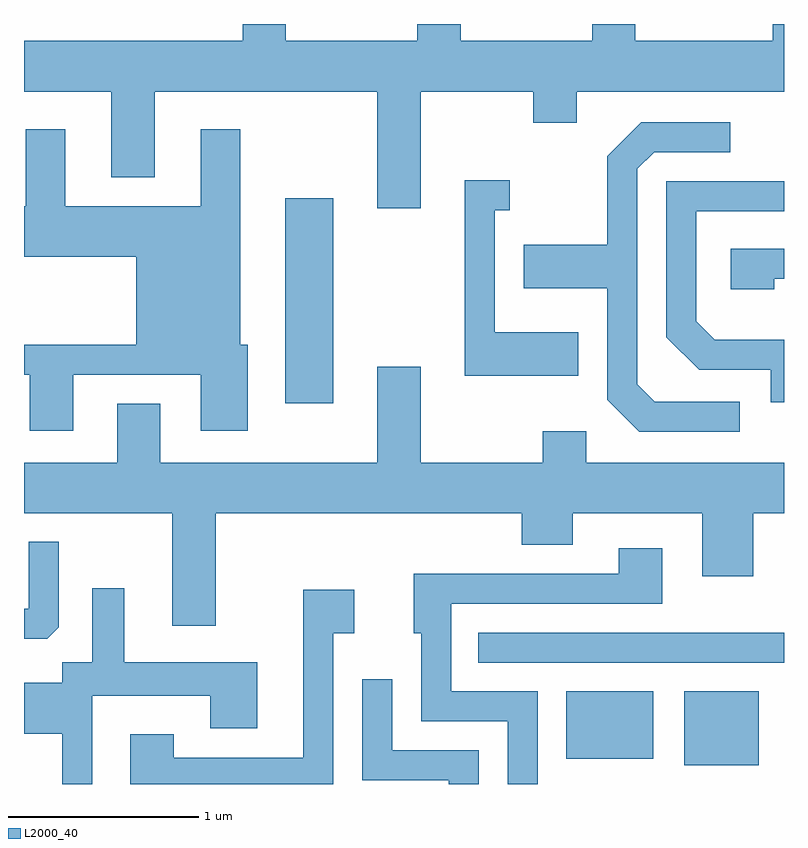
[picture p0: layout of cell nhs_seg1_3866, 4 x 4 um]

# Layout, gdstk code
import gdstk
lib = gdstk.Library(unit=1e-6, precision=1e-09)
def R(c, l, rs):  # rectangles x0, y0, x1, y1
    for r in rs: c.add(gdstk.rectangle(r[:2], r[2:], *l))
def P(c, l, *ps):  # polygons
    for p in ps: c.add(gdstk.Polygon(p, *l))
L2000_40 = (2000, 40)

nhs_seg1_3866 = lib.new_cell('nhs_seg1_3866')
R(nhs_seg1_3866, L2000_40, [(305.086,893.811,305.479,894.199), (304.466,893.846,304.924,894.199), (304.003,894.351,305.611,894.509), (302.986,895.716,303.239,896.794)])
P(nhs_seg1_3866, L2000_40, [(305.611,897.712),(305.551,897.712),(305.551,897.624),(304.829,897.624),(304.829,897.712),(304.601,897.712),(304.601,897.624),(303.909,897.624),(303.909,897.712),(303.681,897.712),(303.681,897.624),(302.989,897.624),(302.989,897.712),(302.761,897.712),(302.761,897.624),(301.611,897.624),(301.611,897.356),(302.071,897.356),(302.071,896.906),(302.299,896.906),(302.299,897.356),(303.471,897.356),(303.471,896.741),(303.699,896.741),(303.699,897.356),(304.291,897.356),(304.291,897.191),(304.519,897.191),(304.519,897.356),(305.611,897.356)],
  [(305.378,895.724),(304.932,895.724),(304.839,895.817),(304.839,896.949),(304.927,897.036),(305.328,897.036),(305.328,897.194),(304.859,897.194),(304.681,897.017),(304.681,896.549),(304.241,896.549),(304.241,896.321),(304.681,896.321),(304.681,895.734),(304.849,895.566),(305.378,895.566)],
  [(301.869,895.866),(302.541,895.866),(302.541,895.571),(302.789,895.571),(302.789,896.024),(302.749,896.024),(302.749,897.159),(302.541,897.159),(302.541,896.754),(301.829,896.754),(301.829,897.159),(301.621,897.159),(301.621,896.754),(301.611,896.754),(301.611,896.486),(302.201,896.486),(302.201,896.024),(301.611,896.024),(301.611,895.866),(301.641,895.866),(301.641,895.571),(301.869,895.571)],
  [(304.529,896.089),(304.089,896.089),(304.089,896.731),(304.168,896.731),(304.168,896.889),(303.931,896.889),(303.931,895.861),(304.529,895.861)],
  [(305.611,896.049),(305.247,896.049),(305.149,896.147),(305.149,896.726),(305.611,896.726),(305.611,896.884),(304.991,896.884),(304.991,896.064),(305.164,895.891),(305.541,895.891),(305.541,895.721),(305.611,895.721)],
  [(305.559,896.371),(305.611,896.371),(305.611,896.529),(305.331,896.529),(305.331,896.316),(305.559,896.316)],
  [(302.619,895.136),(304.231,895.136),(304.231,894.971),(304.499,894.971),(304.499,895.136),(305.181,895.136),(305.181,894.806),(305.449,894.806),(305.449,895.136),(305.611,895.136),(305.611,895.404),(304.569,895.404),(304.569,895.569),(304.341,895.569),(304.341,895.404),(303.699,895.404),(303.699,895.909),(303.471,895.909),(303.471,895.404),(302.329,895.404),(302.329,895.714),(302.101,895.714),(302.101,895.404),(301.611,895.404),(301.611,895.136),(302.391,895.136),(302.391,894.546),(302.619,894.546)],
  [(301.794,894.537),(301.794,894.988),(301.636,894.988),(301.636,894.634),(301.611,894.634),(301.611,894.476),(301.734,894.476)],
  [(304.314,894.199),(303.859,894.199),(303.859,894.661),(304.969,894.661),(304.969,894.954),(304.741,894.954),(304.741,894.819),(303.661,894.819),(303.661,894.506),(303.701,894.506),(303.701,894.041),(304.156,894.041),(304.156,893.712),(304.314,893.712)],
  [(301.969,894.176),(302.591,894.176),(302.591,894.006),(302.839,894.006),(302.839,894.354),(302.139,894.354),(302.139,894.743),(301.971,894.743),(301.971,894.354),(301.811,894.354),(301.811,894.244),(301.611,894.244),(301.611,893.976),(301.811,893.976),(301.811,893.712),(301.969,893.712)],
  [(303.239,894.506),(303.349,894.506),(303.349,894.734),(303.081,894.734),(303.081,893.849),(302.399,893.849),(302.399,893.974),(302.171,893.974),(302.171,893.712),(303.239,893.712)],
  [(304.004,893.889),(303.549,893.889),(303.549,894.263),(303.391,894.263),(303.391,893.731),(303.846,893.731),(303.846,893.712),(304.004,893.712)])

lib.write_gds('nhs_seg1_3866.gds')
